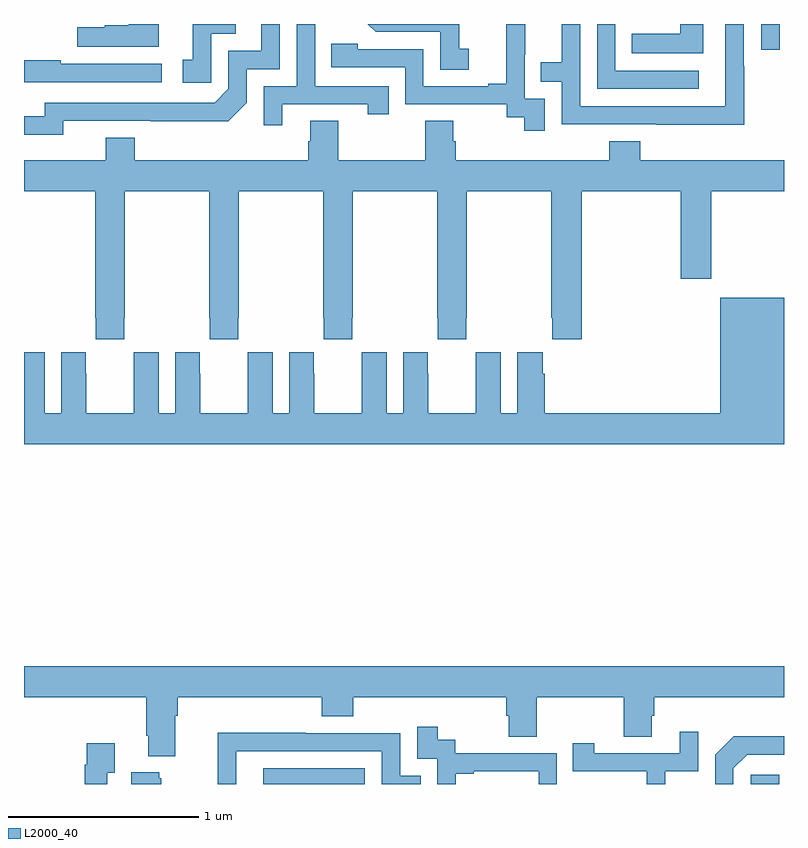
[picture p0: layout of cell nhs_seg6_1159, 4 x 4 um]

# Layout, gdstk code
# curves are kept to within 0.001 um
import gdstk
lib = gdstk.Library(unit=1e-6, precision=1e-09)
def R(c, l, rs):  # rectangles x0, y0, x1, y1
    for r in rs: c.add(gdstk.rectangle(r[:2], r[2:], *l))
def P(c, l, *ps):  # polygons
    for p in ps: c.add(gdstk.Polygon(p, *l))
L2000_40 = (2000, 40)

nhs_seg6_1159 = lib.new_cell('nhs_seg6_1159')
R(nhs_seg6_1159, L2000_40, [(182.259,993.5,182.793,993.582), (184.824,993.5,184.975,993.55), (184.881,997.365,184.977,997.5)])
P(nhs_seg6_1159, L2000_40, [(182.359,997.077),(182.81,997.077),(182.81,997.026),(182.921,997.026),(182.921,997.173),(182.532,997.173),(182.532,997.5),(182.436,997.5),(182.436,997.173),(182.262,997.173),(182.262,996.966),(182.359,996.966)],
  [(181.206,996.99),(182.074,996.989),(182.172,997.086),(182.172,997.263),(182.346,997.263),(182.346,997.5),(182.249,997.5),(182.249,997.359),(182.076,997.359),(182.076,997.158),(182.004,997.086),(181.11,997.086),(181.11,997.014),(181,997.014),(181,996.917),(181.206,996.917)],
  [(183.741,997.107),(183.636,997.107),(183.636,997.337),(183.638,997.337),(183.638,997.5),(183.538,997.5),(183.538,997.469),(183.539,997.469),(183.539,997.186),(183.443,997.186),(183.443,997.173),(183.102,997.173),(183.102,997.368),(182.757,997.368),(182.757,997.395),(182.617,997.395),(182.617,997.272),(183.006,997.272),(183.006,997.077),(183.54,997.077),(183.54,997.009),(183.633,997.009),(183.633,996.939),(183.741,996.939)],
  [(184.552,997.254),(184.113,997.254),(184.113,997.5),(184.017,997.5),(184.017,997.158),(184.552,997.158)],
  [(181.708,997.5),(181.55,997.5),(181.55,997.493),(181.424,997.493),(181.424,997.483),(181.281,997.483),(181.281,997.379),(181.708,997.379)],
  [(184.791,997.277),(184.788,997.277),(184.788,997.5),(184.692,997.5),(184.692,997.068),(183.927,997.068),(183.927,997.5),(183.831,997.5),(183.831,997.298),(183.721,997.298),(183.721,997.197),(183.831,997.197),(183.831,996.972),(184.327,996.972),(184.327,996.971),(184.791,996.971)],
  [(183.34,997.369),(183.291,997.369),(183.291,997.5),(182.808,997.5),(182.85,997.458),(183.192,997.458),(183.192,997.26),(183.34,997.26)],
  [(184.576,997.5),(184.455,997.5),(184.455,997.45),(184.198,997.45),(184.198,997.346),(184.576,997.346)],
  [(181.986,997.449),(182.115,997.449),(182.115,997.5),(181.889,997.5),(181.889,997.311),(181.836,997.311),(181.836,997.191),(181.986,997.191)],
  [(181.726,997.29),(181.193,997.29),(181.193,997.31),(181,997.31),(181,997.194),(181.726,997.194)],
  [(183.112,996.784),(182.655,996.784),(182.655,996.992),(182.507,996.992),(182.507,996.882),(182.495,996.882),(182.495,996.784),(181.583,996.784),(181.583,996.901),(181.43,996.901),(181.43,996.784),(181,996.784),(181,996.62),(181.375,996.62),(181.375,995.953),(181.377,995.953),(181.377,995.841),(181.527,995.841),(181.527,995.953),(181.53,995.953),(181.53,996.62),(181.975,996.62),(181.975,995.953),(181.977,995.953),(181.977,995.841),(182.127,995.841),(182.127,995.953),(182.13,995.953),(182.13,996.62),(182.575,996.62),(182.575,995.953),(182.577,995.953),(182.577,995.841),(182.727,995.841),(182.727,995.953),(182.73,995.953),(182.73,996.62),(183.175,996.62),(183.175,995.953),(183.177,995.953),(183.177,995.841),(183.327,995.841),(183.327,995.953),(183.33,995.953),(183.33,996.62),(183.775,996.62),(183.775,995.953),(183.781,995.953),(183.781,995.841),(183.935,995.841),(183.935,996.62),(184.457,996.62),(184.457,996.159),(184.617,996.159),(184.617,996.62),(185,996.62),(185,996.784),(184.244,996.784),(184.244,996.883),(184.079,996.883),(184.079,996.784),(183.272,996.784),(183.272,996.882),(183.259,996.882),(183.259,996.992),(183.112,996.992)],
  [(185,996.058),(184.664,996.058),(184.664,995.452),(183.74,995.452),(183.74,995.66),(183.73,995.66),(183.73,995.773),(183.596,995.773),(183.596,995.452),(183.508,995.452),(183.508,995.773),(183.378,995.773),(183.378,995.66),(183.377,995.66),(183.377,995.452),(183.127,995.452),(183.127,995.66),(183.126,995.66),(183.126,995.773),(182.996,995.773),(182.996,995.452),(182.908,995.452),(182.908,995.773),(182.778,995.773),(182.778,995.66),(182.777,995.66),(182.777,995.452),(182.527,995.452),(182.527,995.66),(182.526,995.66),(182.526,995.773),(182.396,995.773),(182.396,995.452),(182.308,995.452),(182.308,995.773),(182.178,995.773),(182.178,995.66),(182.177,995.66),(182.177,995.452),(181.927,995.452),(181.927,995.66),(181.926,995.66),(181.926,995.773),(181.796,995.773),(181.796,995.452),(181.708,995.452),(181.708,995.773),(181.578,995.773),(181.578,995.66),(181.577,995.66),(181.577,995.452),(181.327,995.452),(181.327,995.66),(181.326,995.66),(181.326,995.773),(181.196,995.773),(181.196,995.452),(181.108,995.452),(181.108,995.773),(181,995.773),(181,995.288),(185,995.288)],
  [(181.795,993.86),(181.808,993.86),(181.808,993.956),(182.567,993.956),(182.567,993.857),(182.732,993.857),(182.732,993.956),(183.539,993.956),(183.539,993.858),(183.551,993.858),(183.551,993.748),(183.699,993.748),(183.699,993.956),(184.156,993.956),(184.156,993.748),(184.303,993.748),(184.303,993.858),(184.316,993.858),(184.316,993.956),(185,993.956),(185,994.12),(181,994.12),(181,993.956),(181.643,993.956),(181.643,993.754),(181.655,993.754),(181.655,993.647),(181.795,993.647)],
  [(183.272,993.555),(183.367,993.555),(183.367,993.567),(183.708,993.567),(183.708,993.5),(183.804,993.5),(183.804,993.663),(183.27,993.663),(183.27,993.732),(183.178,993.732),(183.178,993.802),(183.069,993.802),(183.069,993.633),(183.174,993.633),(183.174,993.5),(183.272,993.5)],
  [(184.374,993.567),(184.548,993.567),(184.548,993.775),(184.451,993.775),(184.451,993.663),(184,993.663),(184,993.715),(183.889,993.715),(183.889,993.567),(184.278,993.567),(184.278,993.5),(184.374,993.5)],
  [(182.118,993.672),(182.883,993.672),(182.883,993.5),(183.089,993.5),(183.089,993.543),(182.979,993.543),(182.979,993.768),(182.483,993.768),(182.483,993.77),(182.02,993.77),(182.02,993.5),(182.118,993.5)],
  [(184.734,993.582),(184.806,993.654),(185,993.654),(185,993.752),(184.736,993.752),(184.638,993.654),(184.638,993.5),(184.734,993.5)],
  [(181.437,993.559),(181.477,993.559),(181.477,993.715),(181.329,993.715),(181.329,993.602),(181.321,993.602),(181.321,993.5),(181.437,993.5)],
  [(181.723,993.531),(181.712,993.531),(181.712,993.562),(181.565,993.562),(181.565,993.5),(181.723,993.5)])

lib.write_gds('nhs_seg6_1159.gds')
